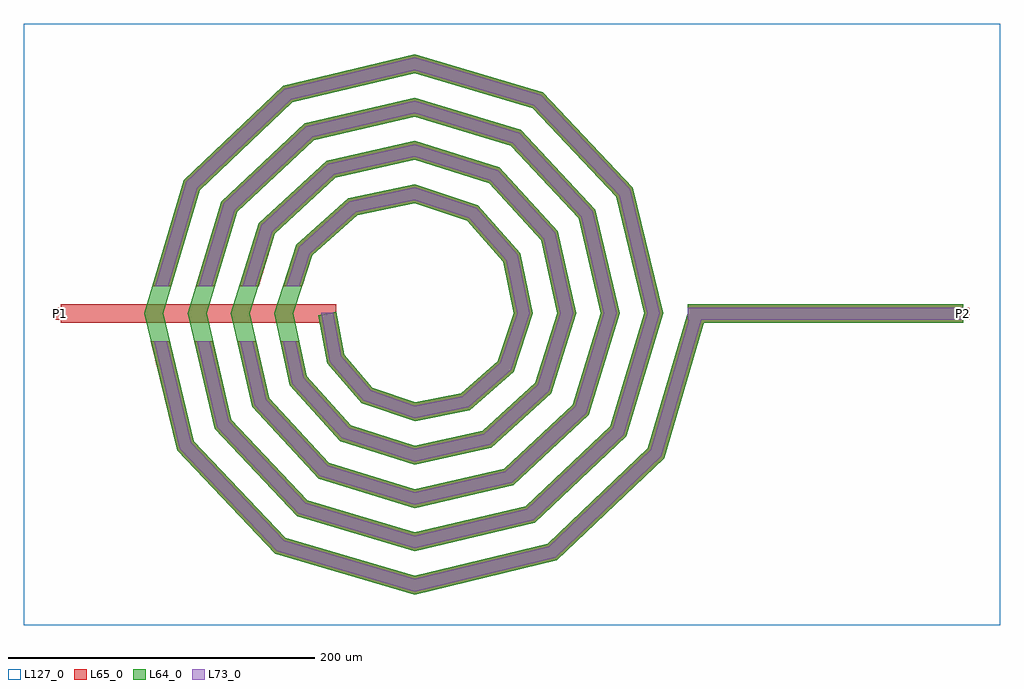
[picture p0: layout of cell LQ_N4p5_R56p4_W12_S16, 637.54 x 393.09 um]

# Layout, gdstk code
import gdstk
lib = gdstk.Library(unit=1e-6, precision=1e-09)
def R(c, l, rs):  # rectangles x0, y0, x1, y1
    for r in rs: c.add(gdstk.rectangle(r[:2], r[2:], *l))
def P(c, l, *ps):  # polygons
    for p in ps: c.add(gdstk.Polygon(p, *l))
L64_0 = (64, 0)
L65_0 = (65, 0)
L73_0 = (73, 0)
L127_0 = (127, 0)

lq_n4p5_r56p4_w12_s16 = lib.new_cell('LQ_N4p5_R56p4_W12_S16')
R(lq_n4p5_r56p4_w12_s16, L64_0, [(178.495,-6,358.495,6)])
P(lq_n4p5_r56p4_w12_s16, L64_0, [(-45.852,-27.003),(-27.402,-48.346),(0.426,-57.929),(30.5,-52.006),(54.453,-30.98),(65.007,0.384),(58.155,34.005),(34.551,60.565),(0.349,72.086),(-37.516,64.302),(-66.68,38.117),(-79.165,0.32),(-70.447,-41.032),(-41.679,-72.798),(0.296,-86.244),(44.552,-76.589),(78.918,-45.238),(93.324,0.275),(82.73,48.074),(48.795,85.039),(0.256,100.403),(-51.599,88.87),(-91.162,52.349),(-107.483,0.24),(-95.009,-55.126),(-55.902,-97.286),(0.226,-114.563),(58.654,-101.147),(103.411,-59.453),(121.643,0.214),(107.285,62.183),(63.003,109.537),(0.203,128.723),(-65.714,113.422),(-115.663,66.552),(-135.803,0.193),(-119.558,-69.246),(-70.1,-121.79),(0.183,-142.884),(72.778,-125.694),(127.917,-73.648),(149.964,0.175),(131.83,76.311),(77.195,134.045),(0.168,157.044),(-79.845,137.965),(-140.173,80.741),(-164.124,0.161),(-144.1,-83.379),(-84.287,-146.302),(0.154,-171.204),(86.914,-150.235),(152.43,-87.832),(178.738,1.692),(190.251,-1.692),(163.036,-94.303),(92.861,-161.144),(0.154,-183.625),(-90.767,-156.901),(-155.015,-89.315),(-176.544,0.161),(-150.766,87.233),(-85.769,148.886),(0.168,169.463),(83.699,144.631),(142.758,82.222),(162.383,0.175),(138.495,-80.165),(78.675,-136.63),(0.183,-155.302),(-76.632,-132.358),(-130.502,-75.127),(-148.222,0.193),(-126.222,73.1),(-71.578,124.375),(0.203,141.141),(69.569,120.084),(118.249,68.028),(134.06,0.214),(113.947,-66.039),(64.478,-112.123),(0.226,-126.979),(-62.51,-107.808),(-105.997,-60.925),(-119.899,0.24),(-101.668,58.982),(-57.372,99.873),(0.256,112.818),(55.456,95.528),(93.749,53.816),(105.737,0.275),(89.386,-51.932),(50.258,-87.626),(0.296,-98.655),(-48.41,-83.242),(-81.505,-46.697),(-91.574,0.32),(-77.096,44.892),(-43.133,75.386),(0.349,84.492),(41.377,70.948),(69.269,39.564),(77.41,0.384),(64.796,-37.868),(35.988,-63.155),(0.426,-70.327),(-34.366,-58.639),(-57.045,-32.405),(-62.944,-1.111),(-51.152,1.111)])
R(lq_n4p5_r56p4_w12_s16, L65_0, [(-231.048,-6,-51.048,6), (178.495,-6,358.495,6), (-235.048,-4,-227.048,4), (354.495,-4,362.495,4)])
P(lq_n4p5_r56p4_w12_s16, L65_0, [(-144.101,-83.379),(-84.287,-146.302),(0.154,-171.205),(86.914,-150.235),(152.43,-87.832),(178.738,1.692),(190.252,-1.692),(163.036,-94.303),(92.861,-161.144),(0.154,-183.625),(-90.768,-156.901),(-155.015,-89.315),(-172.174,-18),(-159.832,-18)],
  [(-119.558,-69.246),(-70.1,-121.79),(0.183,-142.884),(72.778,-125.694),(127.918,-73.648),(149.964,0.175),(131.83,76.311),(77.195,134.045),(0.168,157.044),(-79.845,137.965),(-140.173,80.741),(-158.748,18),(-171.263,18),(-150.766,87.233),(-85.769,148.886),(0.168,169.464),(83.699,144.631),(142.758,82.222),(162.383,0.175),(138.495,-80.165),(78.675,-136.63),(0.183,-155.302),(-76.632,-132.359),(-130.502,-75.127),(-143.942,-18),(-131.614,-18)],
  [(-95.009,-55.126),(-55.902,-97.286),(0.226,-114.563),(58.654,-101.147),(103.411,-59.453),(121.643,0.214),(107.285,62.184),(63.003,109.537),(0.203,128.723),(-65.714,113.422),(-115.663,66.552),(-130.314,18),(-142.848,18),(-126.222,73.1),(-71.578,124.375),(0.203,141.141),(69.569,120.085),(118.249,68.028),(134.06,0.214),(113.947,-66.039),(64.478,-112.123),(0.226,-126.98),(-62.51,-107.808),(-105.997,-60.925),(-115.753,-18),(-103.447,-18)],
  [(-70.447,-41.032),(-41.679,-72.798),(0.296,-86.244),(44.552,-76.589),(78.918,-45.238),(93.324,0.275),(82.73,48.074),(48.795,85.039),(0.256,100.403),(-51.599,88.87),(-91.162,52.349),(-101.822,18),(-114.387,18),(-101.668,58.982),(-57.372,99.873),(0.256,112.818),(55.456,95.528),(93.749,53.816),(105.737,0.275),(89.386,-51.932),(50.258,-87.626),(0.296,-98.655),(-48.41,-83.242),(-81.505,-46.697),(-87.651,-18),(-75.379,-18)],
  [(-27.402,-48.346),(0.426,-57.929),(30.5,-52.006),(54.453,-30.98),(65.007,0.384),(58.156,34.005),(34.551,60.565),(0.349,72.086),(-37.516,64.302),(-66.68,38.117),(-73.214,18),(-85.831,18),(-77.097,44.892),(-43.133,75.386),(0.349,84.492),(41.377,70.948),(69.269,39.564),(77.41,0.384),(64.796,-37.868),(35.988,-63.155),(0.426,-70.327),(-34.366,-58.639),(-57.045,-32.405),(-62.944,-1.111),(-51.152,1.111),(-45.852,-27.003)])
R(lq_n4p5_r56p4_w12_s16, L73_0, [(178.495,-4,358.495,4)])
P(lq_n4p5_r56p4_w12_s16, L73_0, [(-145.92,-84.369),(-85.367,-148.068),(0.103,-173.275),(87.905,-152.053),(154.198,-88.911),(180.657,1.128),(188.333,-1.128),(161.269,-93.224),(91.87,-159.326),(0.103,-181.555),(-89.687,-155.135),(-153.196,-88.326),(-170.117,-18),(-161.889,-18)],
  [(-121.382,-70.226),(-71.189,-123.552),(0.122,-144.953),(73.761,-127.517),(129.68,-74.734),(152.034,0.117),(133.651,77.297),(78.279,135.81),(0.112,159.114),(-80.832,139.786),(-141.939,81.823),(-160.834,18),(-169.177,18),(-149.001,86.151),(-84.782,147.066),(0.112,167.394),(82.615,142.866),(140.937,81.237),(160.313,0.117),(136.732,-79.079),(77.692,-134.807),(0.122,-153.233),(-75.544,-130.597),(-128.678,-74.147),(-141.887,-18),(-133.669,-18)],
  [(-96.841,-56.092),(-57.003,-99.04),(0.151,-116.633),(59.625,-102.977),(105.167,-60.551),(123.713,0.143),(109.112,63.158),(64.097,111.295),(0.135,130.793),(-66.692,115.248),(-117.423,67.644),(-132.403,18),(-140.759,18),(-124.462,72.009),(-70.601,122.55),(0.135,139.071),(68.475,118.327),(116.421,67.054),(131.991,0.143),(112.191,-64.941),(63.507,-110.293),(0.151,-124.91),(-61.408,-106.054),(-104.166,-59.959),(-113.702,-18),(-105.498,-18)],
  [(-72.29,-41.976),(-42.801,-74.538),(0.197,-88.313),(45.503,-78.429),(80.662,-46.354),(95.393,0.183),(84.567,49.031),(49.905,86.787),(0.171,102.473),(-52.561,90.704),(-92.913,53.455),(-103.917,18),(-112.293,18),(-99.917,57.876),(-56.41,98.039),(0.171,110.749),(54.346,93.78),(91.912,52.859),(103.668,0.183),(87.641,-50.816),(49.307,-85.787),(0.197,-96.587),(-47.288,-81.501),(-79.662,-45.753),(-85.605,-18),(-77.424,-18)],
  [(-28.563,-50.062),(0.284,-59.995),(31.415,-53.864),(56.177,-32.128),(67.074,0.256),(60.008,34.931),(35.689,62.295),(0.233,74.154),(-38.452,66.15),(-68.416,39.247),(-75.317,18),(-83.728,18),(-75.36,43.763),(-42.197,73.539),(0.233,82.425),(40.24,69.218),(67.417,38.637),(75.343,0.256),(63.072,-36.72),(35.074,-61.297),(0.284,-68.261),(-33.205,-56.924),(-55.18,-31.504),(-60.979,0.741),(-53.117,0.741),(-47.718,-27.904)])
R(lq_n4p5_r56p4_w12_s16, L127_0, [(-255.048,-203.625,382.495,189.464)])
lq_n4p5_r56p4_w12_s16.add(gdstk.Label('P2', (358.495,0), layer=65, texttype=0))
lq_n4p5_r56p4_w12_s16.add(gdstk.Label('P1', (-231.048,0), layer=65, texttype=0))
lq_n4p5_r56p4_w12_s16.add(gdstk.Label('P2', (362.495,0), layer=145, texttype=0))
lq_n4p5_r56p4_w12_s16.add(gdstk.Label('P1', (-235.048,0), layer=145, texttype=0))

lib.write_gds('LQ_N4p5_R56p4_W12_S16.gds')
